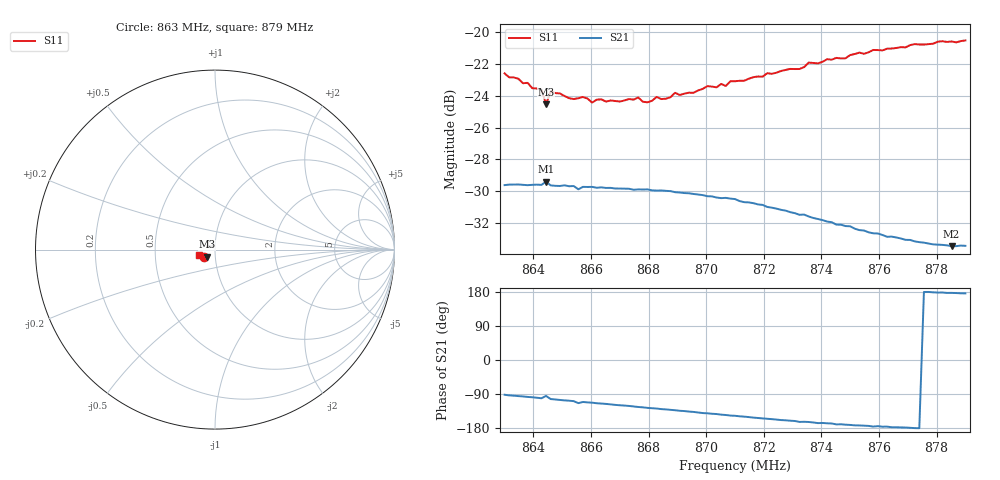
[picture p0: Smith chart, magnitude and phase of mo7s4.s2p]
# HZ S RI R 50
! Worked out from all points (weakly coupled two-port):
!   101 points, 863 MHz to 879 MHz, reference 50 ohm
!   highest |S21| = -29.39 dB at 864.44 MHz (marker M1); lowest = -33.4 dB at 878.52 MHz (marker M2)
!   lowest |S11| = -24.5 dB at 864.44 MHz (marker M3), VSWR 1.13, Z = 45.6 - j3.64 ohm
!   |S11| at or under -10 dB: start of sweep to end of sweep
!   S12 and S22 are empty: the file has one direction only
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8.63e8  -0.0606 -0.0428  -0.000981 -0.0331  0 0  0 0
8.6428e8  -0.0523 -0.0403  -0.00631 -0.0325  0 0  0 0
8.6444e8  -0.0442 -0.0398  -0.00283 -0.0338  0 0  0 0
8.646e8  -0.0516 -0.0399  -0.00747 -0.0322  0 0  0 0
8.654e8  -0.0473 -0.0395  -0.0105 -0.0311  0 0  0 0
8.6556e8  -0.0478 -0.0395  -0.013 -0.0294  0 0  0 0
8.6572e8  -0.0472 -0.0411  -0.0116 -0.0305  0 0  0 0
8.6604e8  -0.0446 -0.0403  -0.0126 -0.0301  0 0  0 0
8.6636e8  -0.0464 -0.0404  -0.0137 -0.0295  0 0  0 0
8.6764e8  -0.0443 -0.0439  -0.0179 -0.0266  0 0  0 0
8.6796e8  -0.0414 -0.0437  -0.019 -0.0258  0 0  0 0
8.6844e8  -0.0423 -0.0448  -0.0203 -0.0245  0 0  0 0
8.6892e8  -0.0433 -0.0478  -0.0213 -0.0231  0 0  0 0
8.6956e8  -0.0439 -0.0473  -0.0227 -0.0211  0 0  0 0
8.7004e8  -0.0445 -0.051  -0.0236 -0.0194  0 0  0 0
8.7068e8  -0.0451 -0.0506  -0.0247 -0.0172  0 0  0 0
8.71e8  -0.0473 -0.0518  -0.0251 -0.0162  0 0  0 0
8.7324e8  -0.0561 -0.0522  -0.0256 -0.00762  0 0  0 0
8.7372e8  -0.0595 -0.0536  -0.0252 -0.0068  0 0  0 0
8.7644e8  -0.0759 -0.0462  -0.0228 -0.00102  0 0  0 0
8.7852e8  -0.0871 -0.034  -0.0212 0.00107  0 0  0 0
8.79e8  -0.0896 -0.0292  -0.0213 0.00158  0 0  0 0
